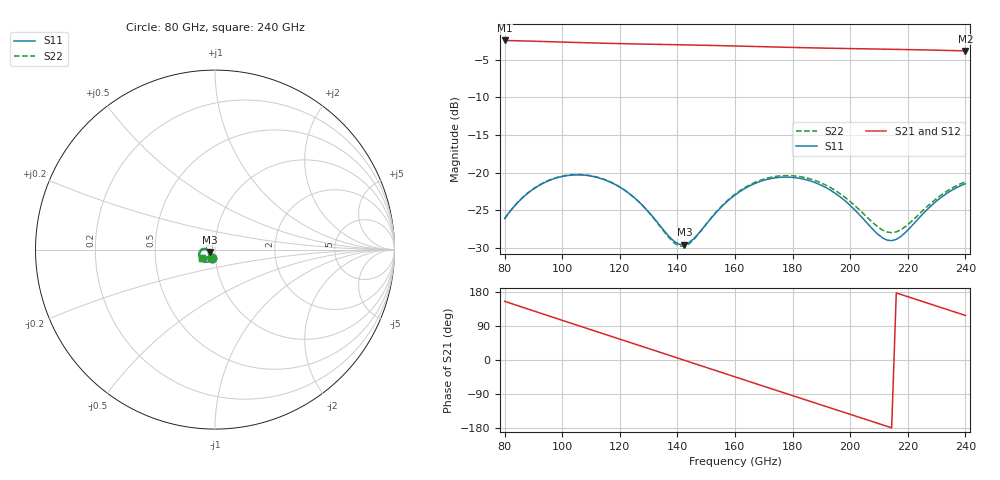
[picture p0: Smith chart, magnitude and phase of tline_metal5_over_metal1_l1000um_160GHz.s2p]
#  GHZ S DB R 50
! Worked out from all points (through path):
!   101 points, 80 GHz to 240 GHz, reference 50 ohm
!   highest |S21| = -2.46 dB at 80 GHz (marker M1); lowest = -3.8 dB at 240 GHz (marker M2)
!   group delay of S21, straight-line fit = 6.89 ps
!   lowest |S11| = -29.6 dB at 142.4 GHz (marker M3), VSWR 1.07, Z = 47.1 - j1.47 ohm
!   |S11| at or under -10 dB: start of sweep to end of sweep
!   |S22| runs from -29.8 to -20.3 dB; largest |S21 - S12| = 1.2e-13
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80  -26.09 -108.9  -2.46 154.9  -2.46 154.9  -26.12 -106.4
86.4  -23.27 -113.8  -2.53 138.8  -2.53 138.8  -23.24 -111.9
94.4  -21.22 -126.8  -2.61 118.7  -2.61 118.7  -21.17 -125.3
100.8  -20.45 -138.9  -2.69 102.7  -2.69 102.7  -20.40 -137.5
107.2  -20.32 -151.2  -2.76 86.8  -2.76 86.8  -20.28 -149.9
113.6  -20.80 -162.9  -2.82 70.9  -2.82 70.9  -20.76 -161.8
120  -21.92 -173.3  -2.88 55.0  -2.88 55.0  -21.90 -172.2
128  -24.38 178.3  -2.95 35.2  -2.95 35.2  -24.41 179.3
134.4  -27.24 -179.2  -2.99 19.3  -2.99 19.3  -27.36 -178.2
139.2  -29.21 -166.0  -3.03 7.3  -3.03 7.3  -29.42 -164.3
142.4  -29.55 -152.1  -3.05 -0.6  -3.05 -0.6  -29.76 -149.5
150.4  -26.65 -129.3  -3.11 -20.6  -3.11 -20.6  -26.64 -126.0
160  -22.96 -131.7  -3.20 -44.5  -3.20 -44.5  -22.85 -128.6
168  -21.27 -142.4  -3.28 -64.4  -3.28 -64.4  -21.12 -139.3
174.4  -20.67 -152.6  -3.34 -80.2  -3.34 -80.2  -20.49 -149.4
187.2  -21.24 -173.1  -3.45 -111.8  -3.45 -111.8  -20.97 -169.4
201.6  -24.94 173.3  -3.55 -147.3  -3.55 -147.3  -24.37 177.7
209.6  -28.17 -176.6  -3.61 -167.1  -3.61 -167.1  -27.19 -173.4
214.4  -29.02 -159.3  -3.64 -179.0  -3.64 -179.0  -27.96 -158.8
219.2  -27.94 -143.0  -3.67 169.1  -3.67 169.1  -27.15 -144.4
225.6  -25.33 -134.8  -3.72 153.2  -3.72 153.2  -24.90 -135.9
240  -21.47 -146.3  -3.85 117.6  -3.85 117.6  -21.21 -145.3
